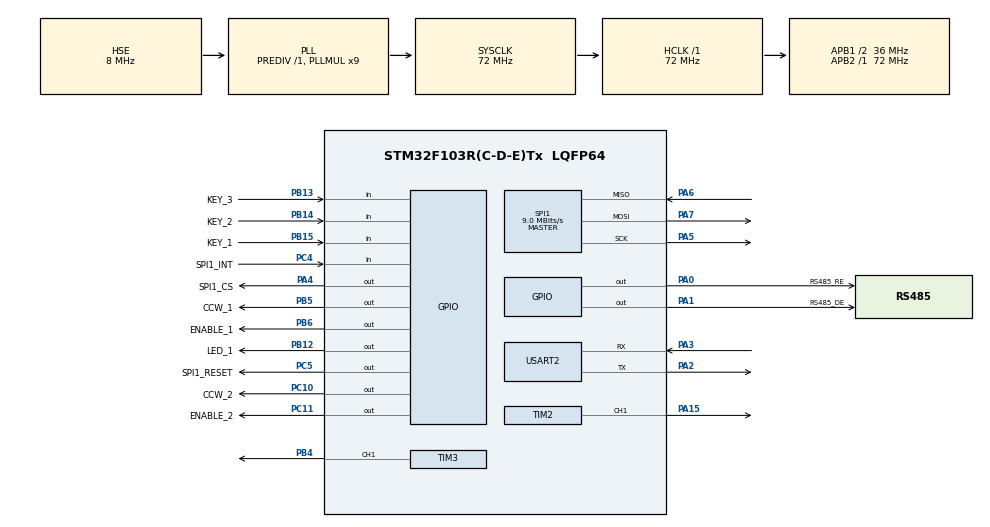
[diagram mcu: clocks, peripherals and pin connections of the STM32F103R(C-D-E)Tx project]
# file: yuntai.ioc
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Dma.Request0=USART2_RX
Dma.Request1=USART2_TX
Dma.USART2_RX.0.Direction=DMA_PERIPH_TO_MEMORY
Dma.USART2_RX.0.Instance=DMA1_Channel6
Dma.USART2_RX.0.MemDataAlignment=DMA_MDATAALIGN_BYTE
Dma.USART2_RX.0.MemInc=DMA_MINC_ENABLE
Dma.USART2_RX.0.Mode=DMA_NORMAL
Dma.USART2_RX.0.PeriphDataAlignment=DMA_PDATAALIGN_BYTE
Dma.USART2_RX.0.PeriphInc=DMA_PINC_DISABLE
Dma.USART2_RX.0.Priority=DMA_PRIORITY_HIGH
Dma.USART2_TX.1.Direction=DMA_MEMORY_TO_PERIPH
Dma.USART2_TX.1.Instance=DMA1_Channel7
Dma.USART2_TX.1.MemDataAlignment=DMA_MDATAALIGN_BYTE
Dma.USART2_TX.1.MemInc=DMA_MINC_ENABLE
Dma.USART2_TX.1.Mode=DMA_NORMAL
Dma.USART2_TX.1.PeriphDataAlignment=DMA_PDATAALIGN_BYTE
Dma.USART2_TX.1.PeriphInc=DMA_PINC_DISABLE
Dma.USART2_TX.1.Priority=DMA_PRIORITY_HIGH
FREERTOS.INCLUDE_uxTaskGetStackHighWaterMark=1
FREERTOS.INCLUDE_xTaskGetCurrentTaskHandle=1
FREERTOS.Queues01=key_value,16,uint16_t,NULL;seriel_queue,6,uint32_t,NULL;flash_queue,5,uint32_t,NULL;motor_queue,8,uint32_t,NULL
FREERTOS.Tasks01=web_server,1,300,web_server_task,Default;sys_core,0,200,sys_core_task,Default;read_key,0,128,read_key_task,Default;deal_key,2,200,deal_key_task,Default;serial_server,2,128,serial_server_task,Default;flash_server,1,500,flash_server_task,Default;motor_server,3,200,motor_server_task,Default
FREERTOS.configTOTAL_HEAP_SIZE=20480
FREERTOS.configUSE_IDLE_HOOK=1
FREERTOS.configUSE_TICK_HOOK=1
Mcu.Family=STM32F1
Mcu.Name=STM32F103R(C-D-E)Tx
Mcu.Package=LQFP64
NVIC.DMA1_Channel6_IRQn=true\:5\:0\:false\:false\:true\:true
NVIC.DMA1_Channel7_IRQn=true\:5\:0\:false\:false\:true\:true
NVIC.PriorityGroup=NVIC_PRIORITYGROUP_4
NVIC.TIM2_IRQn=true\:5\:0\:false\:false\:true\:true
NVIC.TIM3_IRQn=true\:5\:0\:false\:false\:true\:true
NVIC.TIM5_IRQn=true\:0\:0\:false\:false\:true\:false
NVIC.TimeBase=TIM5_IRQn
NVIC.TimeBaseIP=TIM5
NVIC.USART2_IRQn=true\:5\:0\:false\:false\:true\:true
PA0-WKUP.GPIO_Label=RS485_RE
PA0-WKUP.Signal=GPIO_Output
PA1.GPIO_Label=RS485_DE
PA1.Signal=GPIO_Output
PA13.Mode=Serial_Wire
PA13.Signal=SYS_JTMS-SWDIO
PA14.Mode=Serial_Wire
PA14.Signal=SYS_JTCK-SWCLK
PA15.GPIO_Speed=GPIO_SPEED_FREQ_HIGH
PA15.Signal=S_TIM2_CH1_ETR
PA2.Mode=Asynchronous
PA2.Signal=USART2_TX
PA3.Mode=Asynchronous
PA3.Signal=USART2_RX
PA4.GPIO_Label=SPI1_CS
PA4.Signal=GPIO_Output
PA5.Mode=Full_Duplex_Master
PA5.Signal=SPI1_SCK
PA6.Mode=Full_Duplex_Master
PA6.Signal=SPI1_MISO
PA7.Mode=Full_Duplex_Master
PA7.Signal=SPI1_MOSI
PB12.GPIO_Label=LED_1
PB12.Signal=GPIO_Output
PB13.GPIO_Label=KEY_3
PB13.Signal=GPIO_Input
PB14.GPIO_Label=KEY_2
PB14.Signal=GPIO_Input
PB15.GPIO_Label=KEY_1
PB15.Signal=GPIO_Input
PB4.GPIO_Speed=GPIO_SPEED_FREQ_HIGH
PB4.Signal=S_TIM3_CH1
PB5.GPIO_Label=CCW_1
PB5.Signal=GPIO_Output
PB6.GPIO_Label=ENABLE_1
PB6.Signal=GPIO_Output
PC10.GPIO_Label=CCW_2
PC10.Signal=GPIO_Output
PC11.GPIO_Label=ENABLE_2
PC11.Signal=GPIO_Output
PC4.GPIO_Label=SPI1_INT
PC4.Signal=GPIO_Input
PC5.GPIO_Label=SPI1_RESET
PC5.Signal=GPIO_Output
PD0-OSC_IN.Mode=HSE-External-Oscillator
PD0-OSC_IN.Signal=RCC_OSC_IN
PD1-OSC_OUT.Mode=HSE-External-Oscillator
PD1-OSC_OUT.Signal=RCC_OSC_OUT
ProjectManager.HeapSize=0x800
ProjectManager.StackSize=0x1000
ProjectManager.TargetToolchain=MDK-ARM V5
RCC.AHBFreq_Value=72000000
RCC.APB1CLKDivider=RCC_HCLK_DIV2
RCC.APB1Freq_Value=36000000
RCC.APB1TimFreq_Value=72000000
RCC.APB2Freq_Value=72000000
RCC.APB2TimFreq_Value=72000000
RCC.HCLKFreq_Value=72000000
RCC.HSIState=RCC_HSI_ON
RCC.PLLMUL=RCC_PLL_MUL9
RCC.PLLSourceVirtual=RCC_PLLSOURCE_HSE
RCC.SYSCLKFreq_VALUE=72000000
RCC.SYSCLKSource=RCC_SYSCLKSOURCE_PLLCLK
RCC.USBFreq_Value=72000000
RTC.Format=RTC_FORMAT_BIN
RTC.Hours=12
RTC.WeekDay=RTC_WEEKDAY_SUNDAY
SH.S_TIM2_CH1_ETR.0=TIM2_CH1,PWM Generation1 CH1
SH.S_TIM3_CH1.0=TIM3_CH1,PWM Generation1 CH1
SPI1.BaudRatePrescaler=SPI_BAUDRATEPRESCALER_8
SPI1.CalculateBaudRate=9.0 MBits/s
SPI1.Mode=SPI_MODE_MASTER
TIM2.Period=65534
TIM2.Prescaler=9
TIM2.Pulse-PWM\ Generation1\ CH1=30
TIM3.Period=65534
TIM3.Prescaler=9
TIM3.Pulse-PWM\ Generation1\ CH1=30
VP_FREERTOS_VS_ENABLE.Mode=Enabled
VP_RTC_No_RTC_Output.Mode=RTC_OUT_NO
VP_SYS_VS_tim5.Mode=TIM5
board=yuntai

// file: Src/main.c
/**
  ******************************************************************************
  * File Name          : main.c
  * Description        : Main program body
  ******************************************************************************
  *
  * COPYRIGHT(c) 2017 STMicroelectronics
  *
  * Redistribution and use in source and binary forms, with or without modification,
  * are permitted provided that the following conditions are met:
  *   1. Redistributions of source code must retain the above copyright notice,
  *      this list of conditions and the following disclaimer.
  *   2. Redistributions in binary form must reproduce the above copyright notice,
  *      this list of conditions and the following disclaimer in the documentation
  *      and/or other materials provided with the distribution.
  *   3. Neither the name of STMicroelectronics nor the names of its contributors
  *      may be used to endorse or promote products derived from this software
  *      without specific prior written permission.
  *
  * THIS SOFTWARE IS PROVIDED BY THE COPYRIGHT HOLDERS AND CONTRIBUTORS "AS IS"
  * AND ANY EXPRESS OR IMPLIED WARRANTIES, INCLUDING, BUT NOT LIMITED TO, THE
  * IMPLIED WARRANTIES OF MERCHANTABILITY AND FITNESS FOR A PARTICULAR PURPOSE ARE
  * DISCLAIMED. IN NO EVENT SHALL THE COPYRIGHT HOLDER OR CONTRIBUTORS BE LIABLE
  * FOR ANY DIRECT, INDIRECT, INCIDENTAL, SPECIAL, EXEMPLARY, OR CONSEQUENTIAL
  * DAMAGES (INCLUDING, BUT NOT LIMITED TO, PROCUREMENT OF SUBSTITUTE GOODS OR
  * SERVICES; LOSS OF USE, DATA, OR PROFITS; OR BUSINESS INTERRUPTION) HOWEVER
  * CAUSED AND ON ANY THEORY OF LIABILITY, WHETHER IN CONTRACT, STRICT LIABILITY,
  * OR TORT (INCLUDING NEGLIGENCE OR OTHERWISE) ARISING IN ANY WAY OUT OF THE USE
  * OF THIS SOFTWARE, EVEN IF ADVISED OF THE POSSIBILITY OF SUCH DAMAGE.
  *
  ******************************************************************************
  */
#include "stm32f1xx_hal.h"
#include "cmsis_os.h"
#include "dma.h"
#include "rtc.h"
#include "spi.h"
#include "tim.h"
#include "usart.h"
#include "gpio.h"

/* USER CODE BEGIN Includes */
#include "include.h"
/* USER CODE END Includes */

/* USER CODE BEGIN PV */
/* Private variables ---------------------------------------------------------*/
extern osMessageQId key_valueHandle;
extern osMessageQId seriel_queueHandle;
extern osMessageQId flash_queueHandle;
extern osMessageQId motor_queueHandle;
/* USER CODE END PV */

void SystemClock_Config(void);
void Error_Handler(void);
void MX_FREERTOS_Init(void);

/* USER CODE BEGIN PFP */
/* Private function prototypes -----------------------------------------------*/

/* USER CODE END PFP */

int main(void)
{

  /* MCU Configuration----------------------------------------------------------*/

  /* Reset of all peripherals, Initializes the Flash interface and the Systick. */
  HAL_Init();

  /* Configure the system clock */
  SystemClock_Config();

  /* Initialize all configured peripherals */
  MX_GPIO_Init();
  MX_DMA_Init();
  MX_RTC_Init();
  MX_SPI1_Init();
  MX_TIM2_Init();
  MX_TIM3_Init();
  MX_USART2_UART_Init();

  /* USER CODE BEGIN 2 */
	SET_ENABLE_1_0;
	SET_ENABLE_2_0;
	init_motor_info();
  /* USER CODE END 2 */

  /* Call init function for freertos objects (in freertos.c) */
  MX_FREERTOS_Init();

  /* Start scheduler */
  osKernelStart();

  /* We should never get here as control is now taken by the scheduler */

  /* Infinite loop */
  while (1)
  {

  }

}

/** System Clock Configuration
*/
void SystemClock_Config(void)
{

  RCC_OscInitTypeDef RCC_OscInitStruct;
  RCC_ClkInitTypeDef RCC_ClkInitStruct;
  RCC_PeriphCLKInitTypeDef PeriphClkInit;

  RCC_OscInitStruct.OscillatorType = RCC_OSCILLATORTYPE_LSI|RCC_OSCILLATORTYPE_HSE;
  RCC_OscInitStruct.HSEState = RCC_HSE_ON;
  RCC_OscInitStruct.HSEPredivValue = RCC_HSE_PREDIV_DIV1;
  RCC_OscInitStruct.LSIState = RCC_LSI_ON;
  RCC_OscInitStruct.PLL.PLLState = RCC_PLL_ON;
  RCC_OscInitStruct.PLL.PLLSource = RCC_PLLSOURCE_HSE;
  RCC_OscInitStruct.PLL.PLLMUL = RCC_PLL_MUL9;
  if (HAL_RCC_OscConfig(&RCC_OscInitStruct) != HAL_OK)
  {
    Error_Handler();
  }

  RCC_ClkInitStruct.ClockType = RCC_CLOCKTYPE_HCLK|RCC_CLOCKTYPE_SYSCLK
                              |RCC_CLOCKTYPE_PCLK1|RCC_CLOCKTYPE_PCLK2;
  RCC_ClkInitStruct.SYSCLKSource = RCC_SYSCLKSOURCE_PLLCLK;
  RCC_ClkInitStruct.AHBCLKDivider = RCC_SYSCLK_DIV1;
  RCC_ClkInitStruct.APB1CLKDivider = RCC_HCLK_DIV2;
  RCC_ClkInitStruct.APB2CLKDivider = RCC_HCLK_DIV1;
  if (HAL_RCC_ClockConfig(&RCC_ClkInitStruct, FLASH_LATENCY_2) != HAL_OK)
  {
    Error_Handler();
  }

  PeriphClkInit.PeriphClockSelection = RCC_PERIPHCLK_RTC;
  PeriphClkInit.RTCClockSelection = RCC_RTCCLKSOURCE_LSI;
  if (HAL_RCCEx_PeriphCLKConfig(&PeriphClkInit) != HAL_OK)
  {
    Error_Handler();
  }

  HAL_SYSTICK_Config(HAL_RCC_GetHCLKFreq()/1000);

  HAL_SYSTICK_CLKSourceConfig(SYSTICK_CLKSOURCE_HCLK);

  /* SysTick_IRQn interrupt configuration */
  HAL_NVIC_SetPriority(SysTick_IRQn, 15, 0);
}

void HAL_TIM_PeriodElapsedCallback(TIM_HandleTypeDef *htim)
{
/* USER CODE BEGIN Callback 0 */
	BaseType_t xHigherPriorityTaskWoken;
	xHigherPriorityTaskWoken = pdFALSE;

	if (htim->Instance == TIM2) //motor2
	{
		dynamic_timer(&motor_2_info);//加速
		motor_2_info.pulse_count++;
		if((1 == motor_2_info.direction)&&(EFFECT != motor_2_info.posiation_lock))
			{
				motor_2_info.current_position ++;
			}
		if((0 == motor_2_info.direction)&&(EFFECT != motor_2_info.posiation_lock))
			{
				motor_2_info.current_position --;
			}
		if(motor_2_info.pulse_count> motor_2_info.distance)
			{
				if((1 == motor_2_info.direction)&&(EFFECT != motor_2_info.posiation_lock))//当超过计数个数时,减去多操作的计数值
					{
						motor_2_info.current_position --;
					}
				if((0 == motor_2_info.direction)&&(EFFECT != motor_2_info.posiation_lock))
					{
						motor_2_info.current_position ++;
					}
				motor_2_info.finish_pulse = motor_2_info.pulse_count;
				motor_2_info.pulse_count = 0;
				g_motor_2_mesg = motor2_run_out;
				xQueueSendFromISR(motor_queueHandle,&g_motor_2_mesg,&xHigherPriorityTaskWoken);
			}
	}

	if (htim->Instance == TIM3) //motor1
	{
		dynamic_timer(&motor_1_info);
		motor_1_info.pulse_count ++;
		if((1 == motor_1_info.direction)&&(EFFECT!= motor_1_info.posiation_lock))
			{
				motor_1_info.current_position ++;
			}
		if((0 == motor_1_info.direction)&&(EFFECT!= motor_1_info.posiation_lock))
			{
				motor_1_info.current_position --;
			}
		if(motor_1_info.pulse_count > motor_1_info.distance)
			{
				if((1 == motor_1_info.direction)&&(EFFECT!= motor_1_info.posiation_lock))
					{
						motor_1_info.current_position --;
					}
				if((0 == motor_1_info.direction)&&(EFFECT!= motor_1_info.posiation_lock))
					{
						motor_1_info.current_position ++;
					}
				motor_1_info.finish_pulse = motor_1_info.pulse_count;
				motor_1_info.pulse_count = 0;
				g_motor_1_mesg = motor1_run_out;
				xQueueSendFromISR(motor_queueHandle,&g_motor_1_mesg,&xHigherPriorityTaskWoken);
			}
	}

/* USER CODE END Callback 0 */
  if (htim->Instance == TIM5) {
    HAL_IncTick();
  }
}

void Error_Handler(void)
{
  while(1)
  {
  }
}

/************************ (C) COPYRIGHT STMicroelectronics *****END OF FILE****/

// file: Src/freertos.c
/**
  ******************************************************************************
  * File Name          : freertos.c
  * Description        : Code for freertos applications
  ******************************************************************************
  *
  * COPYRIGHT(c) 2017 STMicroelectronics
  *
  * Redistribution and use in source and binary forms, with or without modification,
  * are permitted provided that the following conditions are met:
  *   1. Redistributions of source code must retain the above copyright notice,
  *      this list of conditions and the following disclaimer.
  *   2. Redistributions in binary form must reproduce the above copyright notice,
  *      this list of conditions and the following disclaimer in the documentation
  *      and/or other materials provided with the distribution.
  *   3. Neither the name of STMicroelectronics nor the names of its contributors
  *      may be used to endorse or promote products derived from this software
  *      without specific prior written permission.
  *
  * THIS SOFTWARE IS PROVIDED BY THE COPYRIGHT HOLDERS AND CONTRIBUTORS "AS IS"
  * AND ANY EXPRESS OR IMPLIED WARRANTIES, INCLUDING, BUT NOT LIMITED TO, THE
  * IMPLIED WARRANTIES OF MERCHANTABILITY AND FITNESS FOR A PARTICULAR PURPOSE ARE
  * DISCLAIMED. IN NO EVENT SHALL THE COPYRIGHT HOLDER OR CONTRIBUTORS BE LIABLE
  * FOR ANY DIRECT, INDIRECT, INCIDENTAL, SPECIAL, EXEMPLARY, OR CONSEQUENTIAL
  * DAMAGES (INCLUDING, BUT NOT LIMITED TO, PROCUREMENT OF SUBSTITUTE GOODS OR
  * SERVICES; LOSS OF USE, DATA, OR PROFITS; OR BUSINESS INTERRUPTION) HOWEVER
  * CAUSED AND ON ANY THEORY OF LIABILITY, WHETHER IN CONTRACT, STRICT LIABILITY,
  * OR TORT (INCLUDING NEGLIGENCE OR OTHERWISE) ARISING IN ANY WAY OUT OF THE USE
  * OF THIS SOFTWARE, EVEN IF ADVISED OF THE POSSIBILITY OF SUCH DAMAGE.
  *
  ******************************************************************************
  */

#include "FreeRTOS.h"
#include "task.h"
#include "cmsis_os.h"

/* USER CODE BEGIN Includes */
#include "include.h"
#include "db_flash.h"
/* USER CODE END Includes */

osThreadId web_serverHandle;
osThreadId sys_coreHandle;
osThreadId read_keyHandle;
osThreadId deal_keyHandle;
osThreadId serial_serverHandle;
osThreadId flash_serverHandle;
osThreadId motor_serverHandle;
osMessageQId key_valueHandle;
osMessageQId seriel_queueHandle;
osMessageQId flash_queueHandle;
osMessageQId motor_queueHandle;

/* USER CODE BEGIN Variables */
extern TIM_HandleTypeDef htim2;
extern TIM_HandleTypeDef htim3;
/* USER CODE END Variables */

void web_server_task(void const * argument);
void sys_core_task(void const * argument);
void read_key_task(void const * argument);
void deal_key_task(void const * argument);
void serial_server_task(void const * argument);
void flash_server_task(void const * argument);
void motor_server_task(void const * argument);

void MX_FREERTOS_Init(void); /* (MISRA C 2004 rule 8.1) */

/* Hook prototypes */
void vApplicationIdleHook(void);
void vApplicationTickHook(void);

/* Init FreeRTOS */

void MX_FREERTOS_Init(void) {

  /* Create the thread(s) */
  /* definition and creation of web_server */
  osThreadDef(web_server, web_server_task, osPriorityAboveNormal, 0, 300);
  web_serverHandle = osThreadCreate(osThread(web_server), NULL);

  /* definition and creation of sys_core */
  osThreadDef(sys_core, sys_core_task, osPriorityNormal, 0, 200);
  sys_coreHandle = osThreadCreate(osThread(sys_core), NULL);

  /* definition and creation of read_key */
  osThreadDef(read_key, read_key_task, osPriorityNormal, 0, 128);
  read_keyHandle = osThreadCreate(osThread(read_key), NULL);

  /* definition and creation of deal_key */
  osThreadDef(deal_key, deal_key_task, osPriorityHigh, 0, 200);
  deal_keyHandle = osThreadCreate(osThread(deal_key), NULL);

  /* definition and creation of serial_server */
  osThreadDef(serial_server, serial_server_task, osPriorityHigh, 0, 128);
  serial_serverHandle = osThreadCreate(osThread(serial_server), NULL);

  /* definition and creation of flash_server */
  osThreadDef(flash_server, flash_server_task, osPriorityAboveNormal, 0, 500);
  flash_serverHandle = osThreadCreate(osThread(flash_server), NULL);

  /* definition and creation of motor_server */
  osThreadDef(motor_server, motor_server_task, osPriorityRealtime, 0, 200);
  motor_serverHandle = osThreadCreate(osThread(motor_server), NULL);

  /* Create the queue(s) */
  /* definition and creation of key_value */
  osMessageQDef(key_value, 16, uint16_t);
  key_valueHandle = osMessageCreate(osMessageQ(key_value), NULL);

  /* definition and creation of seriel_queue */
  osMessageQDef(seriel_queue, 6, uint32_t);
  seriel_queueHandle = osMessageCreate(osMessageQ(seriel_queue), NULL);

  /* definition and creation of flash_queue */
  osMessageQDef(flash_queue, 5, uint32_t);
  flash_queueHandle = osMessageCreate(osMessageQ(flash_queue), NULL);

  /* definition and creation of motor_queue */
  osMessageQDef(motor_queue, 8, uint32_t);
  motor_queueHandle = osMessageCreate(osMessageQ(motor_queue), NULL);

}

/* web_server_task function */
void web_server_task(void const * argument)
{

  /* USER CODE BEGIN web_server_task */
  save_task_info();
  osDelay(2000);
  /* Infinite loop */
  for(;;)
  {
	osDelay(20);
	do_http();
  }
  /* USER CODE END web_server_task */
}

/* sys_core_task function */
void sys_core_task(void const * argument)
{
  /* USER CODE BEGIN sys_core_task */
  save_task_info();
  InitW5500();
  tcp_server(1,3333);
  osDelay(200);
  /*load_flash_to_ram_page(1);
  S_Seek_Require req;
  S_Seek_Result res;
  seek_data(&req,&res);*/
  S_Client_Info client_info;
  client_info.target_server.server_ip[0] = 192;
  client_info.target_server.server_ip[1] = 168;
  client_info.target_server.server_ip[2] = 1;
  client_info.target_server.server_ip[3] = 211;
  client_info.target_server.server_port = 3333;
  client_info.this_client_socket_num = 2;
  tcp_client(&client_info);
  osDelay(200);
  init_db();
  //db_test();
  //adjust_motor(&motor_1_info);
  //operat_motor(1,200.0,360.0,&motor_1_info);
  //adjust_motor(&motor_2_info);
  //operat_motor(1,200.0,360.0,&motor_2_info);

  /* Infinite loop */
  for(;;)
  {
    osDelay(1);
  }
  /* USER CODE END sys_core_task */
}

/* read_key_task function */
void read_key_task(void const * argument)
{
  /* USER CODE BEGIN read_key_task */
  save_task_info();
  /* Infinite loop */
  for(;;)
  {
	osDelay(20);
	read_key();
	get_current_angle(&motor_1_info);
	get_current_angle(&motor_2_info);
  }
  /* USER CODE END read_key_task */
}

/* deal_key_task function */
void deal_key_task(void const * argument)
{
  /* USER CODE BEGIN deal_key_task */
  	save_task_info();
	unsigned char recv_key_value;
  /* Infinite loop */
  for(;;)
  {
	xQueueReceive(key_valueHandle, &recv_key_value, portMAX_DELAY);
	deal_key_value(recv_key_value);
   }
  /* USER CODE END deal_key_task */
}

/* serial_server_task function */
void serial_server_task(void const * argument)
{
  /* USER CODE BEGIN serial_server_task */
  save_task_info();
  /* Infinite loop */
  for(;;)
  {
	osDelay(1000);
	//printf_by_web("\r\nhello %d\r\n",12345);
  }
  /* USER CODE END serial_server_task */
}

/* flash_server_task function */
void flash_server_task(void const * argument)
{
  /* USER CODE BEGIN flash_server_task */
  save_task_info();
  /* Infinite loop */
  for(;;)
  {
    osDelay(1);
  }
  /* USER CODE END flash_server_task */
}

/* motor_server_task function */
void motor_server_task(void const * argument)
{
  /* USER CODE BEGIN motor_server_task */
    	save_task_info();
	unsigned int recv_motor_command;
  /* Infinite loop */
  for(;;)
  {
  	xQueueReceive(motor_queueHandle, &recv_motor_command, portMAX_DELAY);
	task_motor_server(recv_motor_command);
	//deal_key_value(recv_key_value);
  }
  /* USER CODE END motor_server_task */
}

/************************ (C) COPYRIGHT STMicroelectronics *****END OF FILE****/
